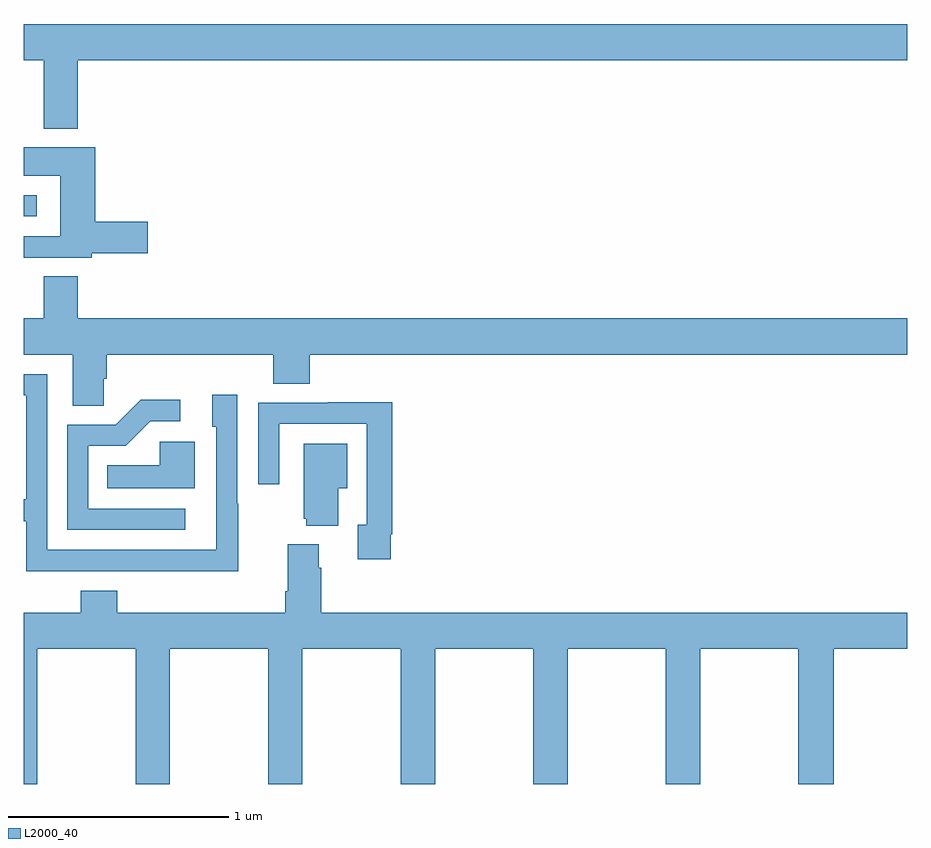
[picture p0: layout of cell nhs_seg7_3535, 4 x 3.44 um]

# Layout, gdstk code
import gdstk
lib = gdstk.Library(unit=1e-6, precision=1e-09)
def R(c, l, rs):  # rectangles x0, y0, x1, y1
    for r in rs: c.add(gdstk.rectangle(r[:2], r[2:], *l))
def P(c, l, *ps):  # polygons
    for p in ps: c.add(gdstk.Polygon(p, *l))
L2000_40 = (2000, 40)

nhs_seg7_3535 = lib.new_cell('nhs_seg7_3535')
R(nhs_seg7_3535, L2000_40, [(337,1006.569,337.06,1006.665)])
P(nhs_seg7_3535, L2000_40, [(337.244,1007.276),(341,1007.276),(341,1007.44),(337,1007.44),(337,1007.276),(337.091,1007.276),(337.091,1006.967),(337.244,1006.967)],
  [(337.308,1006.402),(337.561,1006.402),(337.561,1006.544),(337.325,1006.544),(337.325,1006.882),(337,1006.882),(337,1006.754),(337.166,1006.754),(337.166,1006.479),(337,1006.479),(337,1006.383),(337.308,1006.383)],
  [(337.362,1005.835),(337.376,1005.835),(337.376,1005.944),(338.129,1005.944),(338.129,1005.811),(338.294,1005.811),(338.294,1005.944),(341,1005.944),(341,1006.108),(337.244,1006.108),(337.244,1006.298),(337.091,1006.298),(337.091,1006.108),(337,1006.108),(337,1005.944),(337.223,1005.944),(337.223,1005.712),(337.362,1005.712)],
  [(337.971,1005.269),(337.968,1005.269),(337.968,1005.763),(337.853,1005.763),(337.853,1005.618),(337.872,1005.618),(337.872,1005.314),(337.871,1005.314),(337.871,1005.06),(337.107,1005.06),(337.107,1005.855),(337,1005.855),(337,1005.759),(337.011,1005.759),(337.011,1005.29),(337,1005.29),(337,1005.189),(337.011,1005.189),(337.011,1004.964),(337.507,1004.964),(337.507,1004.963),(337.971,1004.963)],
  [(337.732,1005.246),(337.293,1005.246),(337.293,1005.531),(337.462,1005.531),(337.573,1005.642),(337.708,1005.642),(337.708,1005.74),(337.529,1005.74),(337.416,1005.627),(337.197,1005.627),(337.197,1005.15),(337.732,1005.15)],
  [(338.662,1005.13),(338.669,1005.13),(338.669,1005.728),(338.377,1005.728),(338.377,1005.726),(338.061,1005.726),(338.061,1005.357),(338.157,1005.357),(338.157,1005.63),(338.553,1005.63),(338.553,1005.174),(338.513,1005.174),(338.513,1005.018),(338.662,1005.018)],
  [(337.774,1005.55),(337.617,1005.55),(337.617,1005.442),(337.378,1005.442),(337.378,1005.338),(337.774,1005.338)],
  [(338.425,1005.338),(338.464,1005.338),(338.464,1005.541),(338.267,1005.541),(338.267,1005.201),(338.279,1005.201),(338.279,1005.17),(338.425,1005.17)],
  [(337.662,1004.612),(338.107,1004.612),(338.107,1004),(338.262,1004),(338.262,1004.612),(338.707,1004.612),(338.707,1004),(338.862,1004),(338.862,1004.612),(339.307,1004.612),(339.307,1004),(339.462,1004),(339.462,1004.612),(339.907,1004.612),(339.907,1004),(340.062,1004),(340.062,1004.612),(340.507,1004.612),(340.507,1004),(340.667,1004),(340.667,1004.612),(341,1004.612),(341,1004.776),(338.348,1004.776),(338.348,1004.978),(338.335,1004.978),(338.335,1005.085),(338.195,1005.085),(338.195,1004.872),(338.183,1004.872),(338.183,1004.776),(337.424,1004.776),(337.424,1004.875),(337.259,1004.875),(337.259,1004.776),(337,1004.776),(337,1004),(337.062,1004),(337.062,1004.612),(337.507,1004.612),(337.507,1004),(337.662,1004)])

lib.write_gds('nhs_seg7_3535.gds')
